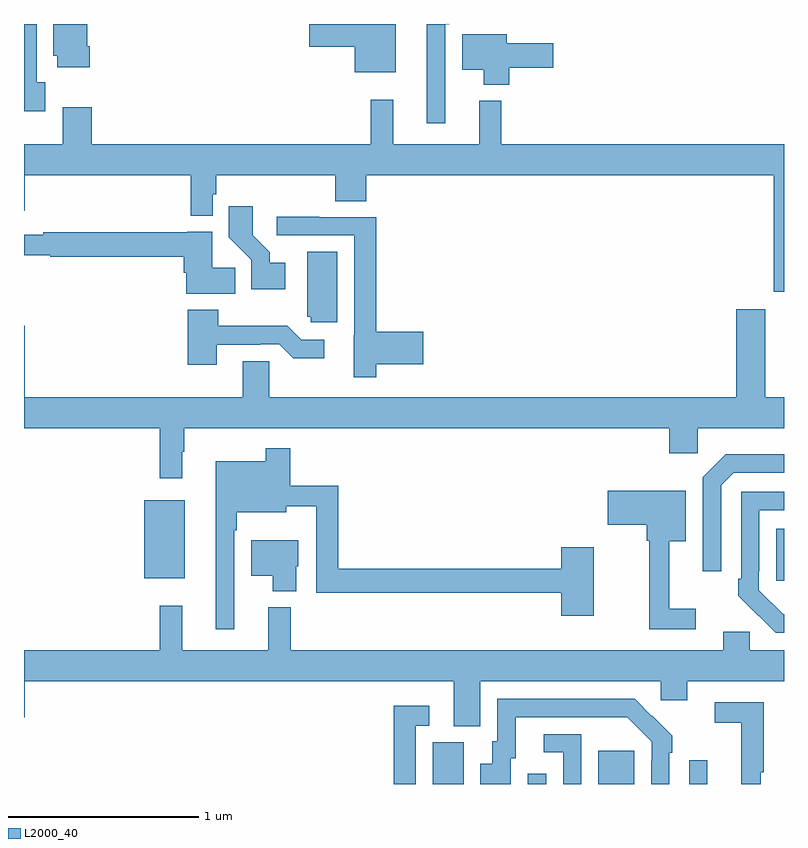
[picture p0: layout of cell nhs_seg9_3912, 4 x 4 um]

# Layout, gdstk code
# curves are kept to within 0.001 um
import gdstk
lib = gdstk.Library(unit=1e-6, precision=1e-09)
def R(c, l, rs):  # rectangles x0, y0, x1, y1
    for r in rs: c.add(gdstk.rectangle(r[:2], r[2:], *l))
def P(c, l, *ps):  # polygons
    for p in ps: c.add(gdstk.Polygon(p, *l))
L2000_40 = (2000, 40)

nhs_seg9_3912 = lib.new_cell('nhs_seg9_3912')
R(nhs_seg9_3912, L2000_40, [(335.15,1242.5,335.314,1242.72), (335.652,1242.5,335.748,1242.553), (336.023,1242.5,336.211,1242.676), (336.501,1242.5,336.597,1242.625), (336.959,1243.569,337,1243.843), (333.632,1243.583,333.847,1243.993)])
P(nhs_seg9_3912, L2000_40, [(333.347,1246.384),(333.334,1246.384),(333.334,1246.5),(333.155,1246.5),(333.155,1246.332),(333.176,1246.332),(333.176,1246.272),(333.347,1246.272)],
  [(335.217,1246.499),(335.237,1246.499),(335.237,1246.5),(335.12,1246.5),(335.12,1245.978),(335.217,1245.978)],
  [(334.957,1246.5),(334.5,1246.5),(334.5,1246.379),(334.742,1246.379),(334.742,1246.247),(334.957,1246.247)],
  [(333.112,1246.194),(333.067,1246.194),(333.067,1246.5),(333,1246.5),(333,1246.04),(333.112,1246.04)],
  [(335.555,1246.27),(335.785,1246.27),(335.785,1246.399),(335.542,1246.399),(335.542,1246.447),(335.306,1246.447),(335.306,1246.259),(335.42,1246.259),(335.42,1246.181),(335.555,1246.181)],
  [(337,1245.868),(335.513,1245.868),(335.513,1246.096),(335.396,1246.096),(335.396,1245.868),(334.943,1245.868),(334.943,1246.102),(334.825,1246.102),(334.825,1245.868),(333.356,1245.868),(333.356,1246.063),(333.203,1246.063),(333.203,1245.868),(333,1245.868),(333,1245.516),(333.004,1245.516),(333.004,1245.704),(333.877,1245.704),(333.877,1245.491),(333.993,1245.491),(333.993,1245.603),(334.013,1245.603),(334.013,1245.704),(334.637,1245.704),(334.637,1245.568),(334.802,1245.568),(334.802,1245.704),(336.947,1245.704),(336.947,1245.09),(337,1245.09)],
  [(334.375,1245.244),(334.294,1245.244),(334.294,1245.299),(334.204,1245.389),(334.204,1245.541),(334.078,1245.541),(334.078,1245.378),(334.197,1245.259),(334.197,1245.104),(334.375,1245.104)],
  [(334.853,1244.708),(335.101,1244.708),(335.101,1244.879),(334.853,1244.879),(334.853,1245.483),(334.553,1245.483),(334.553,1245.486),(334.329,1245.486),(334.329,1245.387),(334.737,1245.387),(334.737,1244.862),(334.736,1244.862),(334.736,1244.64),(334.853,1244.64)],
  [(334.112,1245.218),(333.991,1245.218),(333.991,1245.406),(333.858,1245.406),(333.858,1245.403),(333.1,1245.403),(333.1,1245.39),(333,1245.39),(333,1245.282),(333.139,1245.282),(333.139,1245.274),(333.842,1245.274),(333.842,1245.191),(333.854,1245.191),(333.854,1245.08),(334.112,1245.08)],
  [(334.648,1245.302),(334.49,1245.302),(334.49,1244.958),(334.509,1244.958),(334.509,1244.931),(334.648,1244.931)],
  [(333.832,1244.249),(333.844,1244.249),(333.844,1244.372),(336.395,1244.372),(336.395,1244.241),(336.546,1244.241),(336.546,1244.372),(337,1244.372),(337,1244.536),(336.901,1244.536),(336.901,1244.998),(336.749,1244.998),(336.749,1244.536),(334.29,1244.536),(334.29,1244.726),(334.151,1244.726),(334.151,1244.536),(333.004,1244.536),(333.004,1244.911),(333,1244.911),(333,1244.372),(333.715,1244.372),(333.715,1244.109),(333.832,1244.109)],
  [(334.015,1244.811),(334.244,1244.811),(334.244,1244.814),(334.344,1244.814),(334.417,1244.741),(334.579,1244.741),(334.579,1244.838),(334.458,1244.838),(334.385,1244.911),(334.023,1244.911),(334.023,1244.995),(333.863,1244.995),(333.863,1244.706),(334.015,1244.706)],
  [(334.107,1243.835),(334.12,1243.835),(334.12,1243.931),(334.381,1243.931),(334.381,1243.961),(334.539,1243.961),(334.539,1243.506),(335.828,1243.506),(335.828,1243.386),(335.998,1243.386),(335.998,1243.747),(335.828,1243.747),(335.828,1243.634),(334.655,1243.634),(334.655,1244.071),(334.4,1244.071),(334.4,1244.266),(334.272,1244.266),(334.272,1244.2),(334.01,1244.2),(334.01,1243.314),(334.107,1243.314)],
  [(336.669,1244.073),(336.735,1244.139),(337,1244.139),(337,1244.236),(336.694,1244.236),(336.573,1244.115),(336.573,1243.62),(336.669,1243.62)],
  [(336.535,1243.423),(336.395,1243.423),(336.395,1243.778),(336.484,1243.778),(336.484,1244.043),(336.072,1244.043),(336.072,1243.865),(336.277,1243.865),(336.277,1243.781),(336.292,1243.781),(336.292,1243.314),(336.535,1243.314)],
  [(337,1243.393),(336.996,1243.393),(336.867,1243.521),(336.867,1243.621),(336.87,1243.621),(336.87,1243.941),(337,1243.941),(337,1244.037),(336.774,1244.037),(336.774,1243.579),(336.759,1243.579),(336.759,1243.491),(336.956,1243.296),(337,1243.296)],
  [(334.432,1243.647),(334.444,1243.647),(334.444,1243.783),(334.196,1243.783),(334.196,1243.595),(334.31,1243.595),(334.31,1243.514),(334.432,1243.514)],
  [(335.401,1243.04),(336.351,1243.04),(336.351,1242.942),(336.49,1242.942),(336.49,1243.04),(337,1243.04),(337,1243.204),(336.819,1243.204),(336.819,1243.302),(336.68,1243.302),(336.68,1243.204),(334.403,1243.204),(334.403,1243.429),(334.286,1243.429),(334.286,1243.204),(333.833,1243.204),(333.833,1243.438),(333.715,1243.438),(333.715,1243.204),(333,1243.204),(333,1242.852),(333.004,1242.852),(333.004,1243.04),(335.261,1243.04),(335.261,1242.805),(335.401,1242.805)],
  [(335.563,1242.636),(335.587,1242.636),(335.587,1242.852),(336.175,1242.852),(336.303,1242.723),(336.303,1242.623),(336.3,1242.623),(336.3,1242.5),(336.396,1242.5),(336.396,1242.665),(336.411,1242.665),(336.411,1242.753),(336.214,1242.948),(335.49,1242.948),(335.49,1242.726),(335.465,1242.726),(335.465,1242.607),(335.402,1242.607),(335.402,1242.5),(335.563,1242.5)],
  [(336.878,1242.562),(336.893,1242.562),(336.893,1242.93),(336.636,1242.93),(336.636,1242.822),(336.776,1242.822),(336.776,1242.5),(336.878,1242.5)],
  [(335.061,1242.807),(335.134,1242.807),(335.134,1242.913),(334.945,1242.913),(334.945,1242.5),(335.061,1242.5)],
  [(335.934,1242.762),(335.736,1242.762),(335.736,1242.666),(335.838,1242.666),(335.838,1242.5),(335.934,1242.5)])

lib.write_gds('nhs_seg9_3912.gds')
